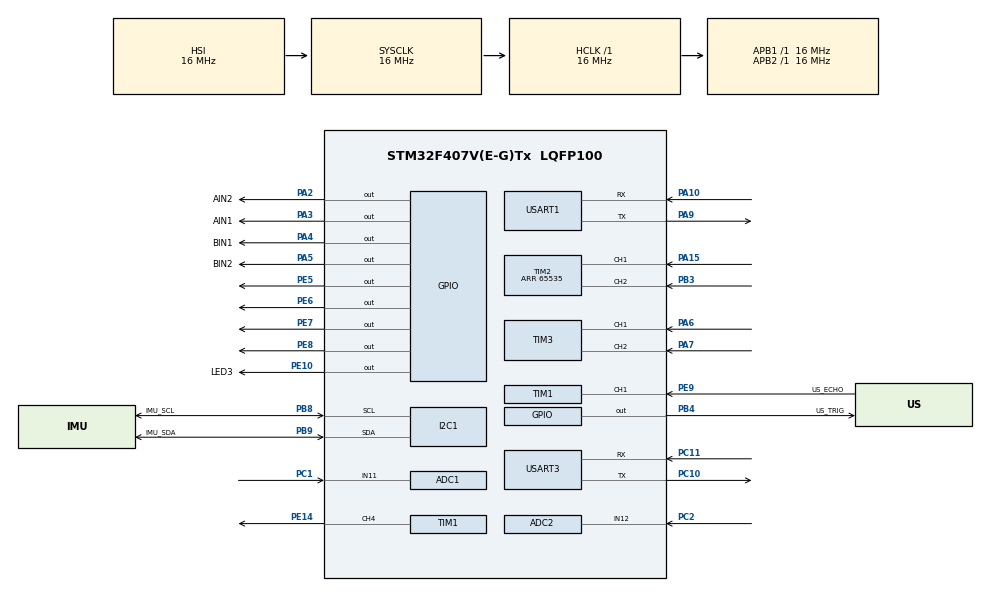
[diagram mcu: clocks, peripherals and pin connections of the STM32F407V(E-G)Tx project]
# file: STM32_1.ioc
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ADC1.Channel-0\#ChannelRegularConversion=ADC_CHANNEL_11
ADC1.ContinuousConvMode=ENABLE
ADC1.NbrOfConversionFlag=1
ADC1.Rank-0\#ChannelRegularConversion=1
ADC1.SamplingTime-0\#ChannelRegularConversion=ADC_SAMPLETIME_3CYCLES
ADC1.master=1
ADC2.Channel-0\#ChannelRegularConversion=ADC_CHANNEL_12
ADC2.ContinuousConvMode=ENABLE
ADC2.NbrOfConversionFlag=1
ADC2.Rank-0\#ChannelRegularConversion=1
ADC2.SamplingTime-0\#ChannelRegularConversion=ADC_SAMPLETIME_3CYCLES
FREERTOS.BinarySemaphores01=ori_semaphore,Dynamic,NULL
FREERTOS.Tasks01=defaultTask,8,128,StartDefaultTask,Default,NULL,Dynamic,NULL,NULL;motorServo,40,2048,StartMotorServo,Default,NULL,Dynamic,NULL,NULL;imu,40,512,StartIMU,Default,NULL,Dynamic,NULL,NULL;ultrasound,40,256,StartUS,Default,NULL,Dynamic,NULL,NULL
Mcu.Family=STM32F4
Mcu.Name=STM32F407V(E-G)Tx
Mcu.Package=LQFP100
NVIC.PriorityGroup=NVIC_PRIORITYGROUP_4
NVIC.TIM1_CC_IRQn=true\:5\:0\:false\:false\:true\:true\:true\:true\:true
NVIC.TIM2_IRQn=true\:5\:0\:false\:false\:true\:true\:true\:true\:true
NVIC.TIM3_IRQn=true\:5\:0\:false\:false\:true\:true\:true\:true\:true
NVIC.USART1_IRQn=true\:5\:0\:false\:false\:true\:true\:true\:true\:true
NVIC.USART3_IRQn=true\:5\:0\:false\:false\:true\:true\:true\:true\:true
PA10.Mode=Asynchronous
PA10.Signal=USART1_RX
PA15.Signal=S_TIM2_CH1_ETR
PA2.GPIO_Label=AIN2
PA2.GPIO_Speed=GPIO_SPEED_FREQ_HIGH
PA2.Signal=GPIO_Output
PA3.GPIO_Label=AIN1
PA3.GPIO_Speed=GPIO_SPEED_FREQ_HIGH
PA3.Signal=GPIO_Output
PA4.GPIO_Label=BIN1
PA4.GPIO_Speed=GPIO_SPEED_FREQ_HIGH
PA4.Signal=GPIO_Output
PA5.GPIO_Label=BIN2
PA5.GPIO_Speed=GPIO_SPEED_FREQ_HIGH
PA5.Signal=GPIO_Output
PA6.Signal=S_TIM3_CH1
PA7.Signal=S_TIM3_CH2
PA9.Mode=Asynchronous
PA9.Signal=USART1_TX
PB3.Signal=S_TIM2_CH2
PB4.GPIO_Label=US_TRIG
PB4.Signal=GPIO_Output
PB8.GPIO_Label=IMU_SCL
PB8.Mode=I2C
PB8.Signal=I2C1_SCL
PB9.GPIO_Label=IMU_SDA
PB9.Mode=I2C
PB9.Signal=I2C1_SDA
PC1.Signal=ADCx_IN11
PC10.Mode=Asynchronous
PC10.Signal=USART3_TX
PC11.GPIO_Speed=GPIO_SPEED_FREQ_VERY_HIGH
PC11.Mode=Asynchronous
PC11.Signal=USART3_RX
PC2.Signal=ADCx_IN12
PC6.GPIO_Label=PWMA
PC6.Signal=S_TIM8_CH1
PC7.GPIO_Label=PWMB
PC7.Signal=S_TIM8_CH2
PE10.GPIO_Label=LED3
PE10.Signal=GPIO_Output
PE14.Signal=S_TIM1_CH4
PE5.Signal=GPIO_Output
PE6.Signal=GPIO_Output
PE7.Signal=GPIO_Output
PE8.Signal=GPIO_Output
PE9.GPIO_Label=US_ECHO
PE9.Signal=S_TIM1_CH1
ProjectManager.HeapSize=0x200
ProjectManager.StackSize=0x400
ProjectManager.TargetToolchain=STM32CubeIDE
RCC.AHBFreq_Value=16000000
RCC.APB1Freq_Value=16000000
RCC.APB2Freq_Value=16000000
RCC.CortexFreq_Value=16000000
RCC.HSE_VALUE=25000000
RCC.HSI_VALUE=16000000
RCC.LSE_VALUE=32768
RCC.SYSCLKFreq_VALUE=16000000
RCC.VCOOutputFreq_Value=192000000
SH.ADCx_IN11.0=ADC1_IN11,IN11
SH.ADCx_IN12.0=ADC2_IN12,IN12
SH.S_TIM1_CH1.0=TIM1_CH1,Input_Capture1_from_TI1
SH.S_TIM1_CH4.0=TIM1_CH4,PWM Generation4 CH4
SH.S_TIM2_CH1_ETR.0=TIM2_CH1,Encoder_Interface
SH.S_TIM2_CH2.0=TIM2_CH2,Encoder_Interface
SH.S_TIM3_CH1.0=TIM3_CH1,Encoder_Interface
SH.S_TIM3_CH2.0=TIM3_CH2,Encoder_Interface
SH.S_TIM8_CH1.0=TIM8_CH1
SH.S_TIM8_CH2.0=TIM8_CH2
TIM1.AutoReloadPreload=TIM_AUTORELOAD_PRELOAD_ENABLE
TIM1.Channel-Input_Capture1_from_TI1=TIM_CHANNEL_1
TIM1.Channel-PWM\ Generation4\ CH4=TIM_CHANNEL_4
TIM1.ICPolarity_CH1=TIM_INPUTCHANNELPOLARITY_BOTHEDGE
TIM1.Period=20000
TIM1.Prescaler=15
TIM2.EncoderMode=TIM_ENCODERMODE_TI12
TIM2.IC1Filter=10
TIM2.IC1Polarity=TIM_ICPOLARITY_FALLING
TIM2.IC2Filter=10
TIM2.IC2Polarity=TIM_ICPOLARITY_FALLING
TIM2.Period=65535
TIM3.EncoderMode=TIM_ENCODERMODE_TI12
TIM3.IC1Filter=10
TIM3.IC1Polarity=TIM_ICPOLARITY_FALLING
TIM3.IC2Filter=10
TIM3.IC2Polarity=TIM_ICPOLARITY_FALLING
TIM6.Prescaler=15
TIM8.Channel-PWM\ Generation1\ No\ Output=TIM_CHANNEL_1
TIM8.Channel-PWM\ Generation2\ No\ Output=TIM_CHANNEL_2
TIM8.Period=7199
USART1.VirtualMode=VM_ASYNC
USART3.VirtualMode=VM_ASYNC
VP_FREERTOS_VS_CMSIS_V2.Mode=CMSIS_V2
VP_TIM1_VS_ClockSourceINT.Mode=Internal
VP_TIM6_VS_ClockSourceINT.Mode=Enable_Timer
VP_TIM8_VS_ClockSourceINT.Mode=Internal
VP_TIM8_VS_no_output1.Mode=PWM Generation1 No Output
VP_TIM8_VS_no_output2.Mode=PWM Generation2 No Output
board=custom

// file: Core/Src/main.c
/* USER CODE BEGIN Header */
/**
  ******************************************************************************
  * @file           : main.c
  * @brief          : Main program body
  ******************************************************************************
  * @attention
  *
  * Copyright (c) 2023 STMicroelectronics.
  * All rights reserved.
  *
  * This software is licensed under terms that can be found in the LICENSE file
  * in the root directory of this software component.
  * If no LICENSE file comes with this software, it is provided AS-IS.
  *
  ******************************************************************************
  */
/* USER CODE END Header */
#include "main.h"
#include "cmsis_os.h"

/* USER CODE BEGIN Includes */
#include <math.h>
#include <stdio.h>
#include <stdlib.h>
#include "oled.h"
#include "motors.h"
#include "imu.h"
#include "servo.h"
#include "comm.h"
/* USER CODE END Includes */

ADC_HandleTypeDef hadc1;
ADC_HandleTypeDef hadc2;

I2C_HandleTypeDef hi2c1;

TIM_HandleTypeDef htim1;
TIM_HandleTypeDef htim2;
TIM_HandleTypeDef htim3;
TIM_HandleTypeDef htim6;
TIM_HandleTypeDef htim8;

UART_HandleTypeDef huart1;
UART_HandleTypeDef huart3;

/* Definitions for defaultTask */
osThreadId_t defaultTaskHandle;
const osThreadAttr_t defaultTask_attributes = {
  .name = "defaultTask",
  .stack_size = 128 * 4,
  .priority = (osPriority_t) osPriorityLow,
};
/* Definitions for motorServo */
osThreadId_t motorServoHandle;
const osThreadAttr_t motorServo_attributes = {
  .name = "motorServo",
  .stack_size = 2048 * 4,
  .priority = (osPriority_t) osPriorityHigh,
};
/* Definitions for imu */
osThreadId_t imuHandle;
const osThreadAttr_t imu_attributes = {
  .name = "imu",
  .stack_size = 512 * 4,
  .priority = (osPriority_t) osPriorityHigh,
};
/* Definitions for ultrasound */
osThreadId_t ultrasoundHandle;
const osThreadAttr_t ultrasound_attributes = {
  .name = "ultrasound",
  .stack_size = 256 * 4,
  .priority = (osPriority_t) osPriorityHigh,
};
/* Definitions for ori_semaphore */
osSemaphoreId_t ori_semaphoreHandle;
const osSemaphoreAttr_t ori_semaphore_attributes = {
  .name = "ori_semaphore"
};
/* USER CODE BEGIN PV */
uint8_t start = 0;

float orientation = 0;

double pos_x = 0;
double pos_y = 0;

float us_distchange_x = 0;
float us_distchange_y = 0;

char oledbuf[20];
uint8_t buf[20];

uint16_t echo_upEdge = 65535;
uint16_t echo_downEdge = 65535;
int32_t echo, lastEcho1, lastEcho2;
uint8_t us_alert = 0;
int32_t echoToObstacle;
double distToObstacle = 10000;	// Distance to nearesr obstacle detected by ultrasound (cm)
int reqDist = 0;				// Flag: if != 0, us will actively measuring distance
int distReady = 0;				// Set to 1 when us finished active measurement

Instruction curInst;
CompleteError cpltErr;
uint8_t turnDir = 0xFF;
double distToObstacle_min = 25;

MotorData mtrA;
MotorData mtrB;
MotorPIDData mtrAPID;
MotorPIDData mtrBPID;

MotorServoStatus backupObj;

AccelGyroResult gyro;
/* USER CODE END PV */

void SystemClock_Config(void);
static void MX_GPIO_Init(void);
static void MX_TIM8_Init(void);
static void MX_I2C1_Init(void);
static void MX_TIM2_Init(void);
static void MX_TIM3_Init(void);
static void MX_TIM1_Init(void);
static void MX_TIM6_Init(void);
static void MX_USART3_UART_Init(void);
static void MX_USART1_UART_Init(void);
static void MX_ADC1_Init(void);
static void MX_ADC2_Init(void);
void StartDefaultTask(void *argument);
void StartMotorServo(void *argument);
void StartIMU(void *argument);
void StartUS(void *argument);

/* USER CODE BEGIN PFP */
void Delay_us(uint16_t us);
void usEnableActiveMeasure();
int getIRReading(uint8_t ir);
/* USER CODE END PFP */

int main(void)
{

  /* MCU Configuration--------------------------------------------------------*/

  /* Reset of all peripherals, Initializes the Flash interface and the Systick. */
  HAL_Init();

  /* Configure the system clock */
  SystemClock_Config();

  /* Initialize all configured peripherals */
  MX_GPIO_Init();
  MX_TIM8_Init();
  MX_I2C1_Init();
  MX_TIM2_Init();
  MX_TIM3_Init();
  MX_TIM1_Init();
  MX_TIM6_Init();
  MX_USART3_UART_Init();
  MX_USART1_UART_Init();
  MX_ADC1_Init();
  MX_ADC2_Init();
  /* USER CODE BEGIN 2 */
  OLED_Init();
  HAL_TIM_Base_Start(&htim6);
  HAL_TIM_IC_Start_IT(&htim1, TIM_CHANNEL_1);
  comm_init(&huart3, &curInst, &cpltErr);
  HAL_GPIO_WritePin(GPIOE, LED3_Pin, GPIO_PIN_SET);
  while (HAL_UART_Receive_IT(&huart3, (uint8_t*) buf, UART_PACKET_SIZE) != HAL_OK){
	  HAL_Delay(100);
	  OLED_Clear();
	  		sprintf(oledbuf, "Uart err: %d", 1);
	  		OLED_ShowString(10, 15, &oledbuf[0]);
	  		OLED_Refresh_Gram();
  }
  OLED_Clear();
  uint8_t imuerr = imu_init(&hi2c1);
	if (imuerr != 0) {
	  OLED_Clear();
		sprintf(oledbuf, "Imu err: %d", imuerr);
		OLED_ShowString(10, 15, &oledbuf[0]);
		OLED_Refresh_Gram();
	}
  mtr_init(&htim8, &htim2, &htim3, &mtrA, &mtrB, &mtrAPID, &mtrBPID, &backupObj, &orientation, &ori_semaphoreHandle);
  servoInit(&htim1);
  //HAL_UART_Receive_IT(&huart1, (uint8_t*) buf, UART_PACKET_SIZE);
  /* USER CODE END 2 */

  /* Init scheduler */
  osKernelInitialize();

  /* Create the semaphores(s) */
  /* creation of ori_semaphore */
  ori_semaphoreHandle = osSemaphoreNew(1, 1, &ori_semaphore_attributes);

  /* Create the thread(s) */
  /* creation of defaultTask */
  defaultTaskHandle = osThreadNew(StartDefaultTask, NULL, &defaultTask_attributes);

  /* creation of motorServo */
  motorServoHandle = osThreadNew(StartMotorServo, NULL, &motorServo_attributes);

  /* creation of imu */
  imuHandle = osThreadNew(StartIMU, NULL, &imu_attributes);

  /* creation of ultrasound */
  ultrasoundHandle = osThreadNew(StartUS, NULL, &ultrasound_attributes);

  /* Start scheduler */
  osKernelStart();

  /* We should never get here as control is now taken by the scheduler */
  /* Infinite loop */
  while (1)
  {

  }
}

void SystemClock_Config(void)
{
  RCC_OscInitTypeDef RCC_OscInitStruct = {0};
  RCC_ClkInitTypeDef RCC_ClkInitStruct = {0};

  /** Configure the main internal regulator output voltage
  */
  __HAL_RCC_PWR_CLK_ENABLE();
  __HAL_PWR_VOLTAGESCALING_CONFIG(PWR_REGULATOR_VOLTAGE_SCALE1);

  /** Initializes the RCC Oscillators according to the specified parameters
  * in the RCC_OscInitTypeDef structure.
  */
  RCC_OscInitStruct.OscillatorType = RCC_OSCILLATORTYPE_HSI;
  RCC_OscInitStruct.HSIState = RCC_HSI_ON;
  RCC_OscInitStruct.HSICalibrationValue = RCC_HSICALIBRATION_DEFAULT;
  RCC_OscInitStruct.PLL.PLLState = RCC_PLL_NONE;
  if (HAL_RCC_OscConfig(&RCC_OscInitStruct) != HAL_OK)
  {
    Error_Handler();
  }

  /** Initializes the CPU, AHB and APB buses clocks
  */
  RCC_ClkInitStruct.ClockType = RCC_CLOCKTYPE_HCLK|RCC_CLOCKTYPE_SYSCLK
                              |RCC_CLOCKTYPE_PCLK1|RCC_CLOCKTYPE_PCLK2;
  RCC_ClkInitStruct.SYSCLKSource = RCC_SYSCLKSOURCE_HSI;
  RCC_ClkInitStruct.AHBCLKDivider = RCC_SYSCLK_DIV1;
  RCC_ClkInitStruct.APB1CLKDivider = RCC_HCLK_DIV1;
  RCC_ClkInitStruct.APB2CLKDivider = RCC_HCLK_DIV1;

  if (HAL_RCC_ClockConfig(&RCC_ClkInitStruct, FLASH_LATENCY_0) != HAL_OK)
  {
    Error_Handler();
  }
}

static void MX_ADC1_Init(void)
{

  ADC_ChannelConfTypeDef sConfig = {0};

  /** Configure the global features of the ADC (Clock, Resolution, Data Alignment and number of conversion)
  */
  hadc1.Instance = ADC1;
  hadc1.Init.ClockPrescaler = ADC_CLOCK_SYNC_PCLK_DIV2;
  hadc1.Init.Resolution = ADC_RESOLUTION_12B;
  hadc1.Init.ScanConvMode = DISABLE;
  hadc1.Init.ContinuousConvMode = ENABLE;
  hadc1.Init.DiscontinuousConvMode = DISABLE;
  hadc1.Init.ExternalTrigConvEdge = ADC_EXTERNALTRIGCONVEDGE_NONE;
  hadc1.Init.ExternalTrigConv = ADC_SOFTWARE_START;
  hadc1.Init.DataAlign = ADC_DATAALIGN_RIGHT;
  hadc1.Init.NbrOfConversion = 1;
  hadc1.Init.DMAContinuousRequests = DISABLE;
  hadc1.Init.EOCSelection = ADC_EOC_SINGLE_CONV;
  if (HAL_ADC_Init(&hadc1) != HAL_OK)
  {
    Error_Handler();
  }

  /** Configure for the selected ADC regular channel its corresponding rank in the sequencer and its sample time.
  */
  sConfig.Channel = ADC_CHANNEL_11;
  sConfig.Rank = 1;
  sConfig.SamplingTime = ADC_SAMPLETIME_3CYCLES;
  if (HAL_ADC_ConfigChannel(&hadc1, &sConfig) != HAL_OK)
  {
    Error_Handler();
  }

}

static void MX_ADC2_Init(void)
{

  ADC_ChannelConfTypeDef sConfig = {0};

  /** Configure the global features of the ADC (Clock, Resolution, Data Alignment and number of conversion)
  */
  hadc2.Instance = ADC2;
  hadc2.Init.ClockPrescaler = ADC_CLOCK_SYNC_PCLK_DIV2;
  hadc2.Init.Resolution = ADC_RESOLUTION_12B;
  hadc2.Init.ScanConvMode = DISABLE;
  hadc2.Init.ContinuousConvMode = ENABLE;
  hadc2.Init.DiscontinuousConvMode = DISABLE;
  hadc2.Init.ExternalTrigConvEdge = ADC_EXTERNALTRIGCONVEDGE_NONE;
  hadc2.Init.ExternalTrigConv = ADC_SOFTWARE_START;
  hadc2.Init.DataAlign = ADC_DATAALIGN_RIGHT;
  hadc2.Init.NbrOfConversion = 1;
  hadc2.Init.DMAContinuousRequests = DISABLE;
  hadc2.Init.EOCSelection = ADC_EOC_SINGLE_CONV;
  if (HAL_ADC_Init(&hadc2) != HAL_OK)
  {
    Error_Handler();
  }

  /** Configure for the selected ADC regular channel its corresponding rank in the sequencer and its sample time.
  */
  sConfig.Channel = ADC_CHANNEL_12;
  sConfig.Rank = 1;
  sConfig.SamplingTime = ADC_SAMPLETIME_3CYCLES;
  if (HAL_ADC_ConfigChannel(&hadc2, &sConfig) != HAL_OK)
  {
    Error_Handler();
  }

}

static void MX_I2C1_Init(void)
{

  hi2c1.Instance = I2C1;
  hi2c1.Init.ClockSpeed = 100000;
  hi2c1.Init.DutyCycle = I2C_DUTYCYCLE_2;
  hi2c1.Init.OwnAddress1 = 0;
  hi2c1.Init.AddressingMode = I2C_ADDRESSINGMODE_7BIT;
  hi2c1.Init.DualAddressMode = I2C_DUALADDRESS_DISABLE;
  hi2c1.Init.OwnAddress2 = 0;
  hi2c1.Init.GeneralCallMode = I2C_GENERALCALL_DISABLE;
  hi2c1.Init.NoStretchMode = I2C_NOSTRETCH_DISABLE;
  if (HAL_I2C_Init(&hi2c1) != HAL_OK)
  {
    Error_Handler();
  }

}

static void MX_TIM1_Init(void)
{

  TIM_ClockConfigTypeDef sClockSourceConfig = {0};
  TIM_MasterConfigTypeDef sMasterConfig = {0};
  TIM_IC_InitTypeDef sConfigIC = {0};
  TIM_OC_InitTypeDef sConfigOC = {0};
  TIM_BreakDeadTimeConfigTypeDef sBreakDeadTimeConfig = {0};

  htim1.Instance = TIM1;
  htim1.Init.Prescaler = 15;
  htim1.Init.CounterMode = TIM_COUNTERMODE_UP;
  htim1.Init.Period = 20000;
  htim1.Init.ClockDivision = TIM_CLOCKDIVISION_DIV1;
  htim1.Init.RepetitionCounter = 0;
  htim1.Init.AutoReloadPreload = TIM_AUTORELOAD_PRELOAD_ENABLE;
  if (HAL_TIM_Base_Init(&htim1) != HAL_OK)
  {
    Error_Handler();
  }
  sClockSourceConfig.ClockSource = TIM_CLOCKSOURCE_INTERNAL;
  if (HAL_TIM_ConfigClockSource(&htim1, &sClockSourceConfig) != HAL_OK)
  {
    Error_Handler();
  }
  if (HAL_TIM_IC_Init(&htim1) != HAL_OK)
  {
    Error_Handler();
  }
  if (HAL_TIM_PWM_Init(&htim1) != HAL_OK)
  {
    Error_Handler();
  }
  sMasterConfig.MasterOutputTrigger = TIM_TRGO_RESET;
  sMasterConfig.MasterSlaveMode = TIM_MASTERSLAVEMODE_DISABLE;
  if (HAL_TIMEx_MasterConfigSynchronization(&htim1, &sMasterConfig) != HAL_OK)
  {
    Error_Handler();
  }
  sConfigIC.ICPolarity = TIM_INPUTCHANNELPOLARITY_BOTHEDGE;
  sConfigIC.ICSelection = TIM_ICSELECTION_DIRECTTI;
  sConfigIC.ICPrescaler = TIM_ICPSC_DIV1;
  sConfigIC.ICFilter = 0;
  if (HAL_TIM_IC_ConfigChannel(&htim1, &sConfigIC, TIM_CHANNEL_1) != HAL_OK)
  {
    Error_Handler();
  }
  sConfigOC.OCMode = TIM_OCMODE_PWM1;
  sConfigOC.Pulse = 0;
  sConfigOC.OCPolarity = TIM_OCPOLARITY_HIGH;
  sConfigOC.OCFastMode = TIM_OCFAST_DISABLE;
  sConfigOC.OCIdleState = TIM_OCIDLESTATE_RESET;
  sConfigOC.OCNIdleState = TIM_OCNIDLESTATE_RESET;
  if (HAL_TIM_PWM_ConfigChannel(&htim1, &sConfigOC, TIM_CHANNEL_4) != HAL_OK)
  {
    Error_Handler();
  }
  sBreakDeadTimeConfig.OffStateRunMode = TIM_OSSR_DISABLE;
  sBreakDeadTimeConfig.OffStateIDLEMode = TIM_OSSI_DISABLE;
  sBreakDeadTimeConfig.LockLevel = TIM_LOCKLEVEL_OFF;
  sBreakDeadTimeConfig.DeadTime = 0;
  sBreakDeadTimeConfig.BreakState = TIM_BREAK_DISABLE;
  sBreakDeadTimeConfig.BreakPolarity = TIM_BREAKPOLARITY_HIGH;
  sBreakDeadTimeConfig.AutomaticOutput = TIM_AUTOMATICOUTPUT_DISABLE;
  if (HAL_TIMEx_ConfigBreakDeadTime(&htim1, &sBreakDeadTimeConfig) != HAL_OK)
  {
    Error_Handler();
  }
  HAL_TIM_MspPostInit(&htim1);

}

static void MX_TIM2_Init(void)
{

  TIM_Encoder_InitTypeDef sConfig = {0};
  TIM_MasterConfigTypeDef sMasterConfig = {0};

  htim2.Instance = TIM2;
  htim2.Init.Prescaler = 0;
  htim2.Init.CounterMode = TIM_COUNTERMODE_UP;
  htim2.Init.Period = 65535;
  htim2.Init.ClockDivision = TIM_CLOCKDIVISION_DIV1;
  htim2.Init.AutoReloadPreload = TIM_AUTORELOAD_PRELOAD_DISABLE;
  sConfig.EncoderMode = TIM_ENCODERMODE_TI12;
  sConfig.IC1Polarity = TIM_ICPOLARITY_FALLING;
  sConfig.IC1Selection = TIM_ICSELECTION_DIRECTTI;
  sConfig.IC1Prescaler = TIM_ICPSC_DIV1;
  sConfig.IC1Filter = 10;
  sConfig.IC2Polarity = TIM_ICPOLARITY_FALLING;
  sConfig.IC2Selection = TIM_ICSELECTION_DIRECTTI;
  sConfig.IC2Prescaler = TIM_ICPSC_DIV1;
  sConfig.IC2Filter = 10;
  if (HAL_TIM_Encoder_Init(&htim2, &sConfig) != HAL_OK)
  {
    Error_Handler();
  }
  sMasterConfig.MasterOutputTrigger = TIM_TRGO_RESET;
  sMasterConfig.MasterSlaveMode = TIM_MASTERSLAVEMODE_DISABLE;
  if (HAL_TIMEx_MasterConfigSynchronization(&htim2, &sMasterConfig) != HAL_OK)
  {
    Error_Handler();
  }

}

static void MX_TIM3_Init(void)
{

  TIM_Encoder_InitTypeDef sConfig = {0};
  TIM_MasterConfigTypeDef sMasterConfig = {0};

  htim3.Instance = TIM3;
  htim3.Init.Prescaler = 0;
  htim3.Init.CounterMode = TIM_COUNTERMODE_UP;
  htim3.Init.Period = 65535;
  htim3.Init.ClockDivision = TIM_CLOCKDIVISION_DIV1;
  htim3.Init.AutoReloadPreload = TIM_AUTORELOAD_PRELOAD_DISABLE;
  sConfig.EncoderMode = TIM_ENCODERMODE_TI12;
  sConfig.IC1Polarity = TIM_ICPOLARITY_FALLING;
  sConfig.IC1Selection = TIM_ICSELECTION_DIRECTTI;
  sConfig.IC1Prescaler = TIM_ICPSC_DIV1;
  sConfig.IC1Filter = 10;
  sConfig.IC2Polarity = TIM_ICPOLARITY_FALLING;
  sConfig.IC2Selection = TIM_ICSELECTION_DIRECTTI;
  sConfig.IC2Prescaler = TIM_ICPSC_DIV1;
  sConfig.IC2Filter = 10;
  if (HAL_TIM_Encoder_Init(&htim3, &sConfig) != HAL_OK)
  {
    Error_Handler();
  }
  sMasterConfig.MasterOutputTrigger = TIM_TRGO_RESET;
  sMasterConfig.MasterSlaveMode = TIM_MASTERSLAVEMODE_DISABLE;
  if (HAL_TIMEx_MasterConfigSynchronization(&htim3, &sMasterConfig) != HAL_OK)
  {
    Error_Handler();
  }

}

static void MX_TIM6_Init(void)
{

  TIM_MasterConfigTypeDef sMasterConfig = {0};

  htim6.Instance = TIM6;
  htim6.Init.Prescaler = 15;
  htim6.Init.CounterMode = TIM_COUNTERMODE_UP;
  htim6.Init.Period = 65535;
  htim6.Init.AutoReloadPreload = TIM_AUTORELOAD_PRELOAD_DISABLE;
  if (HAL_TIM_Base_Init(&htim6) != HAL_OK)
  {
    Error_Handler();
  }
  sMasterConfig.MasterOutputTrigger = TIM_TRGO_RESET;
  sMasterConfig.MasterSlaveMode = TIM_MASTERSLAVEMODE_DISABLE;
  if (HAL_TIMEx_MasterConfigSynchronization(&htim6, &sMasterConfig) != HAL_OK)
  {
    Error_Handler();
  }

}

static void MX_TIM8_Init(void)
{

  TIM_ClockConfigTypeDef sClockSourceConfig = {0};
  TIM_MasterConfigTypeDef sMasterConfig = {0};
  TIM_OC_InitTypeDef sConfigOC = {0};
  TIM_BreakDeadTimeConfigTypeDef sBreakDeadTimeConfig = {0};

  htim8.Instance = TIM8;
  htim8.Init.Prescaler = 0;
  htim8.Init.CounterMode = TIM_COUNTERMODE_UP;
  htim8.Init.Period = 7199;
  htim8.Init.ClockDivision = TIM_CLOCKDIVISION_DIV1;
  htim8.Init.RepetitionCounter = 0;
  htim8.Init.AutoReloadPreload = TIM_AUTORELOAD_PRELOAD_DISABLE;
  if (HAL_TIM_Base_Init(&htim8) != HAL_OK)
  {
    Error_Handler();
  }
  sClockSourceConfig.ClockSource = TIM_CLOCKSOURCE_INTERNAL;
  if (HAL_TIM_ConfigClockSource(&htim8, &sClockSourceConfig) != HAL_OK)
  {
    Error_Handler();
  }
  if (HAL_TIM_PWM_Init(&htim8) != HAL_OK)
  {
    Error_Handler();
  }
  sMasterConfig.MasterOutputTrigger = TIM_TRGO_RESET;
  sMasterConfig.MasterSlaveMode = TIM_MASTERSLAVEMODE_DISABLE;
  if (HAL_TIMEx_MasterConfigSynchronization(&htim8, &sMasterConfig) != HAL_OK)
  {
    Error_Handler();
  }
  sConfigOC.OCMode = TIM_OCMODE_PWM1;
  sConfigOC.Pulse = 0;
  sConfigOC.OCPolarity = TIM_OCPOLARITY_HIGH;
  sConfigOC.OCNPolarity = TIM_OCNPOLARITY_HIGH;
  sConfigOC.OCFastMode = TIM_OCFAST_DISABLE;
  sConfigOC.OCIdleState = TIM_OCIDLESTATE_RESET;
  sConfigOC.OCNIdleState = TIM_OCNIDLESTATE_RESET;
  if (HAL_TIM_PWM_ConfigChannel(&htim8, &sConfigOC, TIM_CHANNEL_1) != HAL_OK)
  {
    Error_Handler();
  }
  if (HAL_TIM_PWM_ConfigChannel(&htim8, &sConfigOC, TIM_CHANNEL_2) != HAL_OK)
  {
    Error_Handler();
  }
  sBreakDeadTimeConfig.OffStateRunMode = TIM_OSSR_DISABLE;
  sBreakDeadTimeConfig.OffStateIDLEMode = TIM_OSSI_DISABLE;
  sBreakDeadTimeConfig.LockLevel = TIM_LOCKLEVEL_OFF;
  sBreakDeadTimeConfig.DeadTime = 0;
  sBreakDeadTimeConfig.BreakState = TIM_BREAK_DISABLE;
  sBreakDeadTimeConfig.BreakPolarity = TIM_BREAKPOLARITY_HIGH;
  sBreakDeadTimeConfig.AutomaticOutput = TIM_AUTOMATICOUTPUT_DISABLE;
  if (HAL_TIMEx_ConfigBreakDeadTime(&htim8, &sBreakDeadTimeConfig) != HAL_OK)
  {
    Error_Handler();
  }

}

static void MX_USART1_UART_Init(void)
{

  huart1.Instance = USART1;
  huart1.Init.BaudRate = 115200;
  huart1.Init.WordLength = UART_WORDLENGTH_8B;
  huart1.Init.StopBits = UART_STOPBITS_1;
  huart1.Init.Parity = UART_PARITY_NONE;
  huart1.Init.Mode = UART_MODE_TX_RX;
  huart1.Init.HwFlowCtl = UART_HWCONTROL_NONE;
  huart1.Init.OverSampling = UART_OVERSAMPLING_16;
  if (HAL_UART_Init(&huart1) != HAL_OK)
  {
    Error_Handler();
  }

}

static void MX_USART3_UART_Init(void)
{

  huart3.Instance = USART3;
  huart3.Init.BaudRate = 115200;
  huart3.Init.WordLength = UART_WORDLENGTH_8B;
  huart3.Init.StopBits = UART_STOPBITS_1;
  huart3.Init.Parity = UART_PARITY_NONE;
  huart3.Init.Mode = UART_MODE_TX_RX;
  huart3.Init.HwFlowCtl = UART_HWCONTROL_NONE;
  huart3.Init.OverSampling = UART_OVERSAMPLING_16;
  if (HAL_UART_Init(&huart3) != HAL_OK)
  {
    Error_Handler();
  }

}

static void MX_GPIO_Init(void)
{
  GPIO_InitTypeDef GPIO_InitStruct = {0};

  /* GPIO Ports Clock Enable */
  __HAL_RCC_GPIOE_CLK_ENABLE();
  __HAL_RCC_GPIOC_CLK_ENABLE();
  __HAL_RCC_GPIOA_CLK_ENABLE();
  __HAL_RCC_GPIOB_CLK_ENABLE();

  /*Configure GPIO pin Output Level */
  HAL_GPIO_WritePin(GPIOE, GPIO_PIN_5|GPIO_PIN_6|GPIO_PIN_7|GPIO_PIN_8
                          |LED3_Pin, GPIO_PIN_RESET);

  /*Configure GPIO pin Output Level */
  HAL_GPIO_WritePin(GPIOA, AIN2_Pin|AIN1_Pin|BIN1_Pin|BIN2_Pin, GPIO_PIN_RESET);

  /*Configure GPIO pin Output Level */
  HAL_GPIO_WritePin(US_TRIG_GPIO_Port, US_TRIG_Pin, GPIO_PIN_RESET);

  /*Configure GPIO pins : PE5 PE6 PE7 PE8
                           LED3_Pin */
  GPIO_InitStruct.Pin = GPIO_PIN_5|GPIO_PIN_6|GPIO_PIN_7|GPIO_PIN_8
                          |LED3_Pin;
  GPIO_InitStruct.Mode = GPIO_MODE_OUTPUT_PP;
  GPIO_InitStruct.Pull = GPIO_NOPULL;
  GPIO_InitStruct.Speed = GPIO_SPEED_FREQ_LOW;
  HAL_GPIO_Init(GPIOE, &GPIO_InitStruct);

  /*Configure GPIO pins : AIN2_Pin AIN1_Pin BIN1_Pin BIN2_Pin */
  GPIO_InitStruct.Pin = AIN2_Pin|AIN1_Pin|BIN1_Pin|BIN2_Pin;
  GPIO_InitStruct.Mode = GPIO_MODE_OUTPUT_PP;
  GPIO_InitStruct.Pull = GPIO_NOPULL;
  GPIO_InitStruct.Speed = GPIO_SPEED_FREQ_HIGH;
  HAL_GPIO_Init(GPIOA, &GPIO_InitStruct);

  /*Configure GPIO pin : US_TRIG_Pin */
  GPIO_InitStruct.Pin = US_TRIG_Pin;
  GPIO_InitStruct.Mode = GPIO_MODE_OUTPUT_PP;
  GPIO_InitStruct.Pull = GPIO_NOPULL;
  GPIO_InitStruct.Speed = GPIO_SPEED_FREQ_LOW;
  HAL_GPIO_Init(US_TRIG_GPIO_Port, &GPIO_InitStruct);

}

/* USER CODE BEGIN 4 */
void HAL_TIM_IC_CaptureCallback(TIM_HandleTypeDef *htim) {
	if (htim == &htim1) {		// Ultrasound Echo
		if (echo_upEdge > 20000) {
			echo_upEdge = (uint16_t)HAL_TIM_ReadCapturedValue(htim, TIM_CHANNEL_1);
		}
		else {
			echo_downEdge = (uint16_t)HAL_TIM_ReadCapturedValue(htim, TIM_CHANNEL_1);
			if (echo_upEdge > echo_downEdge) {
				echo = (echo_downEdge + 20000) - echo_upEdge;
			}
			else {
				echo = echo_downEdge - echo_upEdge;
			}
			echo_upEdge = 65535;
			echo_downEdge = 65535;

			/*OLED_Clear();
			sprintf(oledbuf, "Dist: %5.1f", echo * 0.01715f);
			OLED_ShowString(10, 15, &oledbuf[0]);
			OLED_Refresh_Gram();*/

			// Calculate distance
			if (reqDist > 0) {
				if (((abs(lastEcho1 - echo) > 300) || (abs(lastEcho2 - echo) > 300)) || (abs(lastEcho1 - lastEcho2) > 300)) {	// System not stabilised yet, wait
					lastEcho2 = lastEcho1;
					lastEcho1 = echo;
					return;
				}
				if (us_alert < 5) {
					echoToObstacle += echo;
					us_alert++;
				}
				else {
					echoToObstacle /= 5;
					distToObstacle = (double)echoToObstacle * 0.01715f;
					lastEcho1 = 65535;
					lastEcho2 = 65535;
					if (distToObstacle < distToObstacle_min) {
						reqDist = -1;
					}
					else {
						reqDist = 0;
					}
					distReady = 1;
				}
			}
			else if (reqDist == 0) {
				if (!cpltErr.finished) {	// Car is running, needs passive measurement
					if (echo * 0.01715f <= distToObstacle_min) {
						stopPID();
						mtrA.suspend = SUS_STOP;
						mtrB.suspend = SUS_STOP;
						// Activate active measurement to confirm
						usEnableActiveMeasure();
					}
				}
			}
		}
	}
	if (htim == &htim2) {		// Motor A's interrupt
		mtrAPID.count = -(int16_t)__HAL_TIM_GET_COUNTER(htim);
	}
	if (htim == &htim3) {		// Motor B's interrupt
		mtrBPID.count = (int16_t)__HAL_TIM_GET_COUNTER(htim);
	}
}

void HAL_UART_RxCpltCallback(UART_HandleTypeDef* huart) {
	UNUSED(huart);

	//MX_USART3_UART_Init();
	turnDir = uart_receive_cam((uint8_t*) buf);
	if (turnDir == 0x80) {
		start = 1;
		turnDir = 0xFF;
	}
	OLED_Clear();
	sprintf(oledbuf, "%2x %2x %2x %2x", buf[0], buf[1], buf[2], buf[3]);
	OLED_ShowString(10, 15, &oledbuf[0]);
	OLED_Refresh_Gram();
	//huart->RxState = HAL_UART_STATE_READY;
	buf[0] = 0;
	buf[1] = 0;
	buf[2] = 0;
	buf[3] = 0;

	HAL_UART_Receive_IT(huart, (uint8_t*) buf, UART_PACKET_SIZE);

	/*
	if (uart_stt == HAL_OK) {
		OLED_Clear();
		sprintf(oledbuf, "Id: %d", curInst.id);
		OLED_ShowString(10, 15, &oledbuf[0]);
		OLED_Refresh_Gram();
		sprintf(oledbuf, "Type: %d", curInst.type);
		OLED_ShowString(10, 30, &oledbuf[0]);
		OLED_Refresh_Gram();
		sprintf(oledbuf, "Val: %d", curInst.val);
		OLED_ShowString(10, 45, &oledbuf[0]);
		OLED_Refresh_Gram();
	}
	else {
		OLED_Clear();
		sprintf(oledbuf, "Err: %d", buf[3]);
		OLED_ShowString(10, 15, &oledbuf[0]);
		OLED_Refresh_Gram();
		sprintf(oledbuf, "CpltErr: %d", cpltErr.id);
		OLED_ShowString(10, 30, &oledbuf[0]);
		OLED_Refresh_Gram();
		sprintf(oledbuf, "Fin: %d", cpltErr.finished);
		OLED_ShowString(10, 45, &oledbuf[0]);
		OLED_Refresh_Gram();
	}
	*/
}

void Delay_us(uint16_t us) {
	__HAL_TIM_SET_COUNTER(&htim6, 0);
	while (__HAL_TIM_GET_COUNTER(&htim6) < us);
	return;
}

void usEnableActiveMeasure() {
	distReady = 0;
	echoToObstacle = 0;
	distToObstacle = 0;
	us_alert = 0;
	reqDist = 1;
}

int getIRReading(uint8_t ir) {
	int retval = 0;
	for (int i = 0; i < 5; i++) {
		if (ir == LEFT) {
			HAL_ADC_Start(&hadc2);
			HAL_ADC_PollForConversion(&hadc2, 10);
			retval += HAL_ADC_GetValue(&hadc2);
			HAL_ADC_Stop(&hadc2);
		}
		else if (ir == RIGHT) {
			HAL_ADC_Start(&hadc1);
			HAL_ADC_PollForConversion(&hadc1, 10);
			retval += HAL_ADC_GetValue(&hadc1);
			HAL_ADC_Stop(&hadc1);
		}
	}
	return retval/5;
}
/* USER CODE END 4 */

void StartDefaultTask(void *argument)
{
  /* USER CODE BEGIN 5 */
  /* Infinite loop */
  for(;;)
  {
    osDelay(10000);
  }
  /* USER CODE END 5 */
}

void StartMotorServo(void *argument)
{
  /* USER CODE BEGIN StartMotorServo */
	uint8_t carTurnOk = 0;
	uint8_t selectedIr = 0xFF;
	double distPreRun = 0;
	double distPostRun = 0;
	double distTmp, obs2Width;
	int ir;
	/*for (;;) {
		OLED_Clear();
		sprintf(oledbuf, "L: %d", getIRReading(LEFT));
		OLED_ShowString(10, 15, &oledbuf[0]);
		OLED_Refresh_Gram();
		sprintf(oledbuf, "R: %d", getIRReading(RIGHT));
		OLED_ShowString(10, 30, &oledbuf[0]);
		OLED_Refresh_Gram();
		osDelay(200);
	}*/
	//carTurn(1, 270);

	//carTurn(1, 45);
	//carTurn(1, 315);
	//return;
  /* Infinite loop */
	//start = 1;
  for(;;)
  {
	  // Step 0: Check for start condition
	  if (!start) continue;

	  // Step 1: Move towards 1st obstacle, safe distance = 30 - 35 cm from obstacle
	  distToObstacle_min = 25;
	  do {
		  // Request us distance
		  usEnableActiveMeasure();
		  while (!distReady) osDelay(10);
		  if ((distToObstacle - distToObstacle_min > -1) && (distToObstacle - distToObstacle_min < 1)) {
			  break;
		  }
		  cpltErr.finished = 0;
		  pos_y += mtr_mov_cm(distToObstacle - distToObstacle_min);
		  cpltErr.finished = 1;
		  while ((mtrA.suspend) || (mtrB.suspend)) {	// Operation is interrupted by us
			  while (!distReady) osDelay(10);
			  reqDist = -1;
			  mtrA.suspend = SUS_OFF;
			  mtrB.suspend = SUS_OFF;
			  cpltErr.finished = 0;
			  pos_y += mtr_mov_cm(distToObstacle - distToObstacle_min);
			  cpltErr.finished = 1;
		  }
		  usEnableActiveMeasure();
		  while (!distReady) osDelay(10);
		  if (distToObstacle > 50) break;
	  } while((distToObstacle < distToObstacle_min) || (distToObstacle > distToObstacle_min + 3));

	  // Step 2: Request camera and wait for result
	  uart_send_cam(1);
	  //turnDir = LEFT;		// Testing only
	  while (turnDir == 0xFF);

	  // Step 3: Turn past 1st obstacle (10x10)
	  reqDist = -1;
	  if (turnDir == LEFT) {
		  cpltErr.finished = 0;
		  carTurn(1, 50);
		  carTurn(1, 250);
		  mtr_mov_cm(-8);
		  carTurn(1, 360 - orientation);
		  cpltErr.finished = 1;
	  }
	  else if (turnDir == RIGHT) {
		  cpltErr.finished = 0;
		  carTurn(1, 310);
		  carTurn(1, 110);
		  mtr_mov_cm(-10);
		  carTurn(1, 360 - orientation);
		  cpltErr.finished = 1;
	  }

	  // Step 4: Move towards 2nd obstacle, safe distance = 40 - 45 cm from obstacle (if carTurnOk)
	  // 25 - 30 cm from obstacle (if not carTurnOk)
	  usEnableActiveMeasure();
	  while (!distReady) osDelay(10);
	  if (distToObstacle > 150) {
		  distToObstacle = (double)echo * 0.01715f;
	  }
	  //if (distToObstacle >= 150) mtr_mov_cm(-5);
	  if (distToObstacle <= 20) {
		  carTurnOk = 0;
		  distToObstacle_min = 16;
	  }
	  else {
		  carTurnOk = 1;
		  distToObstacle_min = 45;
	  }
	  if (distToObstacle > 150) {
		  mtr_mov_cm(-7);
		  osDelay(500);
		  reqDist = 0;
		  cpltErr.finished = 0;
		  mtr_SetParamAndMove(&mtrA, DIR_FWD, 2000);
		  mtr_SetParamAndMove(&mtrB, DIR_FWD, 2000);
		  cpltErr.finished = 1;
		  while(!mtrA.suspend) osDelay(10);
		  while (!distReady) osDelay(10);
		  if (distToObstacle > 150) {
			  distToObstacle = (double)echo * 0.01715f;
		  }
		  mtrA.suspend = SUS_OFF;
		  mtrB.suspend = SUS_OFF;
	  }

	  do {
		  if ((distToObstacle - distToObstacle_min > -1) && (distToObstacle - distToObstacle_min < 1)) {
			  break;
		  }
		  cpltErr.finished = 0;
		  pos_y += mtr_mov_cm(distToObstacle - distToObstacle_min);
		  cpltErr.finished = 1;
		  while ((mtrA.suspend) || (mtrB.suspend)) {	// Operation is interrupted by us
			  while (!distReady) osDelay(10);
			  reqDist = -1;
			  mtrA.suspend = SUS_OFF;
			  mtrB.suspend = SUS_OFF;
			  cpltErr.finished = 0;
			  pos_y += mtr_mov_cm(distToObstacle - distToObstacle_min);
			  cpltErr.finished = 1;
		  }
		  usEnableActiveMeasure();
		  while (!distReady) osDelay(10);
		  if (distToObstacle > 150) {
			  distToObstacle = (double)echo * 0.01715f;
		  }
	  } while((distToObstacle < distToObstacle_min) || (distToObstacle > distToObstacle_min + 5));

	  // Step 5: Request camera and wait for result
	  if (!carTurnOk) mtr_mov_cm(-7);
	  turnDir = 0xFF;
	  uart_send_cam(2);
	  //turnDir = RIGHT;		// Testing only
	  while (turnDir == 0xFF);
	  if (!carTurnOk) mtr_mov_cm(7);

	  // Step 6: Go around 2nd obstacle
	  reqDist = -1;
	  if (turnDir == LEFT) {
		  cpltErr.finished = 0;
		  if (carTurnOk) {
			  carTurn(1, 90);
		  }
		  else {
			  turn(90);
		  }
		  cpltErr.finished = 1;
		  selectedIr = RIGHT;
	  }
	  else if (turnDir == RIGHT) {
		  mtr_mov_cm(5);
		  cpltErr.finished = 0;
		  if (carTurnOk) {
			  carTurn(1, 270);
		  }
		  else {
			  turn(270);
		  }
		  cpltErr.finished = 1;
		  selectedIr = LEFT;
	  }

	  // Go to edge of 2nd obstacle
	  osDelay(100);
	  ir = getIRReading(selectedIr);
	  mtrA_init(0xFFFF, 0, 0, 0, 1);
	  mtrB_init(0xFFFF, 0, 0, 0, 1);
	  mtrA.suspend = SUS_OFF;
	  mtrB.suspend = SUS_OFF;
	  if (ir > 500) {
		  mtr_SetParamAndMove(&mtrA, DIR_FWD, 3000);
		  mtr_SetParamAndMove(&mtrB, DIR_FWD, 3000);
		  while (ir > 500) {
			  osDelay(10);
			  ir = getIRReading(selectedIr);
		  }
		  mtr_stop();
	  }
	  else {
		  mtr_SetParamAndMove(&mtrA, DIR_BCK, 3000);
		  mtr_SetParamAndMove(&mtrB, DIR_BCK, 3000);
		  while (ir <= 500) {
			  osDelay(10);
			  ir = getIRReading(selectedIr);
		  }
		  mtr_stop();
	  }

	  mtr_SetParamAndMove(&mtrA, DIR_FWD, 3000);
	  mtr_SetParamAndMove(&mtrB, DIR_FWD, 3000);
	  osDelay(500);
	  mtr_stop();

	  if (turnDir == LEFT) {
		  cpltErr.finished = 0;
		  carTurn(1, 270);
		  mtr_SetParamAndMove(&mtrA, DIR_FWD, 3000);
		  mtr_SetParamAndMove(&mtrB, DIR_FWD, 3000);
		  osDelay(500);
		  mtr_stop();
		  carTurn(1, 270);
		  cpltErr.finished = 1;
	  }
	  else if (turnDir == RIGHT) {
		  cpltErr.finished = 0;
		  carTurn(1, 90);
		  mtr_SetParamAndMove(&mtrA, DIR_FWD, 3000);
		  mtr_SetParamAndMove(&mtrB, DIR_FWD, 3000);
		  osDelay(500);
		  mtr_stop();
		  carTurn(1, 90);
		  cpltErr.finished = 1;
	  }

	  // Back to start of 2nd obstacle
	  ir = getIRReading(selectedIr);
	  do {
		  mtr_SetParamAndMove(&mtrA, DIR_BCK, 3000);
		  mtr_SetParamAndMove(&mtrB, DIR_BCK, 3000);
		  osDelay(10);
		  ir = getIRReading(selectedIr);
	  } while(ir > 500);
	  mtr_stop();

	  // Fwd to end of 2nd obstacle
	  mtrA_init(0xFFFF, 0, 0, 0, 1);
	  mtrB_init(0xFFFF, 0, 0, 0, 1);
	  mtr_SetParamAndMove(&mtrA, DIR_FWD, 3000);
	  mtr_SetParamAndMove(&mtrB, DIR_FWD, 3000);
	  osDelay(1000);
	  ir = getIRReading(selectedIr);
	  while(ir > 500) {
		  osDelay(10);
		  ir = getIRReading(selectedIr);
	  }
	  mtr_stop();
	  obs2Width = ((double)((mtrAPID.count + mtrBPID.count) / 2) / CNT_PER_CM);
	  //mtr_mov_cm(-10);

	  reqDist = -1;
	  if (turnDir == LEFT) {
		  cpltErr.finished = 0;
		  carTurn(3, 270);
		  cpltErr.finished = 1;
	  }
	  else if (turnDir == RIGHT) {
		  cpltErr.finished = 0;
		  carTurn(3, 90);
		  cpltErr.finished = 1;
	  }

	  // Step 7: Return home
	  mtr_SetParamAndMove(&mtrA, DIR_FWD, 3000);
	  mtr_SetParamAndMove(&mtrB, DIR_FWD, 3000);
	  osDelay(700);
	  if (obs2Width > 70) {
		  mtr_stop();
		  reqDist = -1;
		  if (turnDir == LEFT) {
			  carTurn(1, 315);
			  carTurn(1, 45);
		  }
		  else if (turnDir == RIGHT) {
			  carTurn(1, 45);
			  carTurn(1, 315);
		  }
		  mtr_mov_cm(-25);
	  }
	  else {
		  mtr_SetParamAndMove(&mtrA, DIR_FWD, 3000);
		  mtr_SetParamAndMove(&mtrB, DIR_FWD, 3000);
		  osDelay(1000);
	  }
	  mtr_SetParamAndMove(&mtrA, DIR_FWD, 3000);
	  mtr_SetParamAndMove(&mtrB, DIR_FWD, 3000);
	  osDelay(100);
	  ir = getIRReading(selectedIr);
	  while (ir <= 600) {
		  osDelay(10);
		  ir = getIRReading(selectedIr);
	  }
	  while (ir > 600) {
		  osDelay(10);
		  ir = getIRReading(selectedIr);
	  }
	  mtr_stop();

	  reqDist = -1;
	  if (turnDir == LEFT) {
		  cpltErr.finished = 0;
		  carTurn(1, 270);
		  cpltErr.finished = 1;
	  }
	  else if (turnDir == RIGHT) {
		  cpltErr.finished = 0;
		  carTurn(1, 90);
		  cpltErr.finished = 1;
	  }

	  // Move horizontally towards obs 1
	  mtr_SetParamAndMove(&mtrA, DIR_BCK, 3000);
	  mtr_SetParamAndMove(&mtrB, DIR_BCK, 3000);
	  int millisOld = HAL_GetTick();
	  while (HAL_GetTick() - millisOld < 1500) {
		  ir = getIRReading(selectedIr);
		  if (ir < 700) {
			  osDelay(10);
		  }
		  else {
			  break;
		  }
	  }
	  mtr_SetParamAndMove(&mtrA, DIR_FWD, 3000);
	  mtr_SetParamAndMove(&mtrB, DIR_FWD, 3000);
	  ir = getIRReading(selectedIr);
	  while (ir < 700) {
		  ir = getIRReading(selectedIr);
		  osDelay(10);
	  }

	  // Turn towards carpark
	  mtr_mov_cm(-25);
	  reqDist = -1;
	  if (turnDir == RIGHT) {
		  carTurn(3, 270);
	  }
	  else if (turnDir == LEFT) {
		  carTurn(3, 90);
	  }

	  // Go into carpark
	  distToObstacle_min = 20;
	  reqDist = 0;
	  cpltErr.finished = 0;
	  mtr_SetParamAndMove(&mtrA, DIR_FWD, 3000);
	  mtr_SetParamAndMove(&mtrB, DIR_FWD, 3000);
	  while ((getIRReading(RIGHT) <= 600) || (getIRReading(LEFT) <= 600)) {
		  osDelay(10);
	  };
	  osDelay(700);
	  mtr_stop();
	  /*do {
		  // Request us distance
		  usEnableActiveMeasure();
		  while (!distReady) osDelay(10);
		  if (distPreRun == 0) {
			  distPreRun = distToObstacle;
		  }
		  if ((distToObstacle - distToObstacle_min > -1) && (distToObstacle - distToObstacle_min < 1)) {
			  break;
		  }
		  cpltErr.finished = 0;
		  pos_y += mtr_mov_cm(distToObstacle - distToObstacle_min);
		  cpltErr.finished = 1;
		  while ((mtrA.suspend) || (mtrB.suspend)) {	// Operation is interrupted by us
			  while (!distReady) osDelay(10);
			  reqDist = -1;
			  mtrA.suspend = SUS_OFF;
			  mtrB.suspend = SUS_OFF;
			  cpltErr.finished = 0;
			  pos_y += mtr_mov_cm(distToObstacle - distToObstacle_min);
			  cpltErr.finished = 1;
		  }
		  usEnableActiveMeasure();
		  while (!distReady) osDelay(10);
	  } while((distToObstacle < distToObstacle_min) || (distToObstacle > distToObstacle_min + 5));

	  OLED_Clear();
	  sprintf(oledbuf, "x: %5.1f", pos_x);
	  OLED_ShowString(10, 15, &oledbuf[0]);
	  OLED_Refresh_Gram();

	  sprintf(oledbuf, "y: %5.1f", pos_y);
	  OLED_ShowString(10, 30, &oledbuf[0]);
	  OLED_Refresh_Gram();
	  */

	  start = 0;
	  /*
	  float dist = executeInstruction(&curInst, &cpltErr);
	  if ((mtrA.suspend != SUS_OFF) || (mtrB.suspend != SUS_OFF)) {
		  mtr_continue();
		  mtr_stop();
	  }
	  if (dist != 0) {
		  pos_x += dist * (float)sin((orientation / 180) * PI);
		  pos_y += dist * (float)cos((orientation / 180) * PI);
	  }
	  else {
		  if (us_distchange_x != 0) {		// When the command is turn and there's US course correction
			  pos_x += us_distchange_x;
		  }
		  if (us_distchange_y != 0) {
			  pos_y += us_distchange_y;
		  }
	  }
	  // Reset us_distchange after each instruction run
	  us_distchange_x = 0;
	  us_distchange_y = 0;

	  cpltErr.pos_x = (int16_t)pos_x;
	  cpltErr.pos_y = (int16_t)pos_y;

	  cpltErr.finished = 1;
	  */
	  /*
	  OLED_Clear();
	  sprintf(oledbuf, "X = %5.1f", pos_x);
	  OLED_ShowString(10, 15, &oledbuf[0]);
	  OLED_Refresh_Gram();
	  sprintf(oledbuf, "Y = %5.1f", pos_y);
	  OLED_ShowString(10, 30, &oledbuf[0]);
	  OLED_Refresh_Gram();
	  sprintf(oledbuf, "Ori = %5.1f", orientation);
	  OLED_ShowString(10, 45, &oledbuf[0]);
	  OLED_Refresh_Gram();
	  */
	  //osDelay(500);		// Make sure to give time for UART task to transmit instructions
  }
  /* USER CODE END StartMotorServo */
}

void StartIMU(void *argument)
{
  /* USER CODE BEGIN StartIMU */
	uint32_t ori_lastSampleTime = 0;
  /* Infinite loop */
  for(;;)
  {
	  orientation = calcOri(&ori_lastSampleTime, orientation);
	  /*OLED_Clear();
	  sprintf(oledbuf, "Ori = %5.1f", orientation);
	  OLED_ShowString(10, 45, &oledbuf[0]);
	  OLED_Refresh_Gram();*/
	  while (reqDist >= 0) {
		  osDelay(5);
	  }
  }
  /* USER CODE END StartIMU */
}

void StartUS(void *argument)
{
  /* USER CODE BEGIN StartUS */
	HAL_GPIO_WritePin(US_TRIG_GPIO_Port, US_TRIG_Pin, GPIO_PIN_RESET);
  /* Infinite loop */
  for(;;)
  {
	  HAL_GPIO_WritePin(US_TRIG_GPIO_Port, US_TRIG_Pin, GPIO_PIN_SET);
	  Delay_us(10);
	  HAL_GPIO_WritePin(US_TRIG_GPIO_Port, US_TRIG_Pin, GPIO_PIN_RESET);
	  osDelay(50);
  }
  /* USER CODE END StartUS */
}

void Error_Handler(void)
{
  __disable_irq();
  while (1)
  {
  }
}
